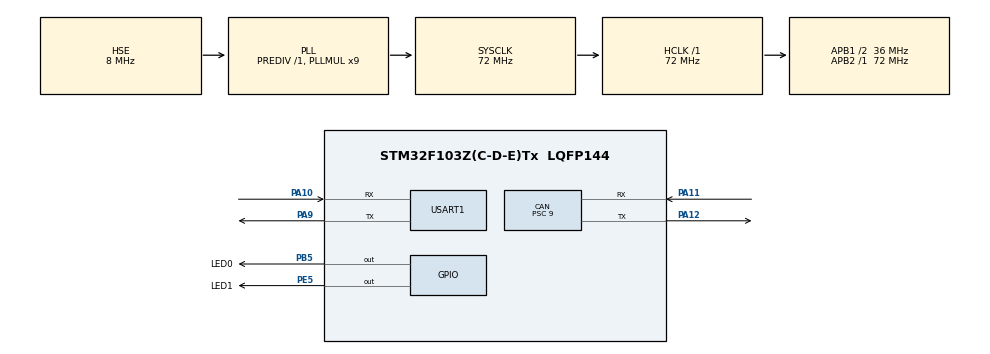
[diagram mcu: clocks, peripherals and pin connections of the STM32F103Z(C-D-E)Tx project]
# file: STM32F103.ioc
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CAN.BS1=CAN_BS1_5TQ
CAN.BS2=CAN_BS2_2TQ
CAN.CalculateBaudRate=500000
CAN.CalculateTimeBit=2000
CAN.CalculateTimeQuantum=250.0
CAN.NART=ENABLE
CAN.Prescaler=9
CAN.SJW=CAN_SJW_1TQ
Mcu.Family=STM32F1
Mcu.Name=STM32F103Z(C-D-E)Tx
Mcu.Package=LQFP144
NVIC.PriorityGroup=NVIC_PRIORITYGROUP_4
NVIC.USB_LP_CAN1_RX0_IRQn=true\:0\:0\:false\:false\:true\:true\:true\:true
OSC_IN.Mode=HSE-External-Oscillator
OSC_IN.Signal=RCC_OSC_IN
OSC_OUT.Mode=HSE-External-Oscillator
OSC_OUT.Signal=RCC_OSC_OUT
PA10.Mode=Asynchronous
PA10.Signal=USART1_RX
PA11.Mode=CAN_Activate
PA11.Signal=CAN_RX
PA12.Mode=CAN_Activate
PA12.Signal=CAN_TX
PA13.Mode=Serial_Wire
PA13.Signal=SYS_JTMS-SWDIO
PA14.Mode=Serial_Wire
PA14.Signal=SYS_JTCK-SWCLK
PA9.Mode=Asynchronous
PA9.Signal=USART1_TX
PB5.GPIO_Label=LED0
PB5.GPIO_ModeDefaultOutputPP=GPIO_MODE_OUTPUT_PP
PB5.GPIO_PuPd=GPIO_PULLUP
PB5.GPIO_Speed=GPIO_SPEED_FREQ_HIGH
PB5.PinState=GPIO_PIN_SET
PB5.Signal=GPIO_Output
PE5.GPIO_Label=LED1
PE5.GPIO_PuPd=GPIO_PULLUP
PE5.GPIO_Speed=GPIO_SPEED_FREQ_HIGH
PE5.PinState=GPIO_PIN_SET
PE5.Signal=GPIO_Output
ProjectManager.HeapSize=0x1000
ProjectManager.StackSize=0x1000
ProjectManager.TargetToolchain=MDK-ARM V5.32
RCC.AHBFreq_Value=72000000
RCC.APB1CLKDivider=RCC_HCLK_DIV2
RCC.APB1Freq_Value=36000000
RCC.APB1TimFreq_Value=72000000
RCC.APB2Freq_Value=72000000
RCC.APB2TimFreq_Value=72000000
RCC.HCLKFreq_Value=72000000
RCC.PLLMUL=RCC_PLL_MUL9
RCC.PLLSourceVirtual=RCC_PLLSOURCE_HSE
RCC.SYSCLKFreq_VALUE=72000000
RCC.SYSCLKSource=RCC_SYSCLKSOURCE_PLLCLK
RCC.USBFreq_Value=72000000
USART1.VirtualMode=VM_ASYNC
board=custom

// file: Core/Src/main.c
/* USER CODE BEGIN Header */
/**
  ******************************************************************************
  * @file           : main.c
  * @brief          : Main program body
  ******************************************************************************
  * @attention
  *
  * Copyright (c) 2026 STMicroelectronics.
  * All rights reserved.
  *
  * This software is licensed under terms that can be found in the LICENSE file
  * in the root directory of this software component.
  * If no LICENSE file comes with this software, it is provided AS-IS.
  *
  ******************************************************************************
  */
/* USER CODE END Header */
#include "main.h"
#include "can.h"
#include "usart.h"
#include "gpio.h"

/* USER CODE BEGIN Includes */
#include "flash.h"
#include "syntropic.h"
#include "isotp_socket.h"
#include "uds_services.h"

/* USER CODE END Includes */

/* USER CODE BEGIN PV */
uint8_t DATA[8] = {1,2,3,4,5,6,7,8};

/* USER CODE END PV */

void SystemClock_Config(void);

int main(void)
{

  /* MCU Configuration--------------------------------------------------------*/

  /* Reset of all peripherals, Initializes the Flash interface and the Systick. */
  HAL_Init();

  /* Configure the system clock */
  SystemClock_Config();

  /* Initialize all configured peripherals */
  MX_GPIO_Init();
  MX_CAN_Init();
  MX_USART1_UART_Init();
  /* USER CODE BEGIN 2 */
  CAN_Handler_Init();
  isotp_socket_init();
  iso_init(isotp_socket);

  //printf("stm32 can test\r\n");

  //stm32f103_flash_test();

  /* USER CODE END 2 */

  /* Infinite loop */
  /* USER CODE BEGIN WHILE */
  while (1)
  {

    isotp_socket_task();
	uds_task();

    /* USER CODE END WHILE */

  }
}

void SystemClock_Config(void)
{
  RCC_OscInitTypeDef RCC_OscInitStruct = {0};
  RCC_ClkInitTypeDef RCC_ClkInitStruct = {0};

  /** Initializes the RCC Oscillators according to the specified parameters
  * in the RCC_OscInitTypeDef structure.
  */
  RCC_OscInitStruct.OscillatorType = RCC_OSCILLATORTYPE_HSE;
  RCC_OscInitStruct.HSEState = RCC_HSE_ON;
  RCC_OscInitStruct.HSEPredivValue = RCC_HSE_PREDIV_DIV1;
  RCC_OscInitStruct.HSIState = RCC_HSI_ON;
  RCC_OscInitStruct.PLL.PLLState = RCC_PLL_ON;
  RCC_OscInitStruct.PLL.PLLSource = RCC_PLLSOURCE_HSE;
  RCC_OscInitStruct.PLL.PLLMUL = RCC_PLL_MUL9;
  if (HAL_RCC_OscConfig(&RCC_OscInitStruct) != HAL_OK)
  {
    Error_Handler();
  }

  /** Initializes the CPU, AHB and APB buses clocks
  */
  RCC_ClkInitStruct.ClockType = RCC_CLOCKTYPE_HCLK|RCC_CLOCKTYPE_SYSCLK
                              |RCC_CLOCKTYPE_PCLK1|RCC_CLOCKTYPE_PCLK2;
  RCC_ClkInitStruct.SYSCLKSource = RCC_SYSCLKSOURCE_PLLCLK;
  RCC_ClkInitStruct.AHBCLKDivider = RCC_SYSCLK_DIV1;
  RCC_ClkInitStruct.APB1CLKDivider = RCC_HCLK_DIV2;
  RCC_ClkInitStruct.APB2CLKDivider = RCC_HCLK_DIV1;

  if (HAL_RCC_ClockConfig(&RCC_ClkInitStruct, FLASH_LATENCY_2) != HAL_OK)
  {
    Error_Handler();
  }
}

/* USER CODE BEGIN 4 */
uint32_t GetTickMS(void)
{
    return HAL_GetTick();
}

void DelayMS(uint32_t delay)
{
    HAL_Delay(delay);
}

/**
 * @brief  This function is executed in case of error occurrence.
 * @retval None
 */
void Error_handler(void)
{
    while (1)
    {
        // Boucle infinie en cas d'erreur
    }
}

/* USER CODE END 4 */

void Error_Handler(void)
{
  __disable_irq();
  while (1)
  {
  }
}
